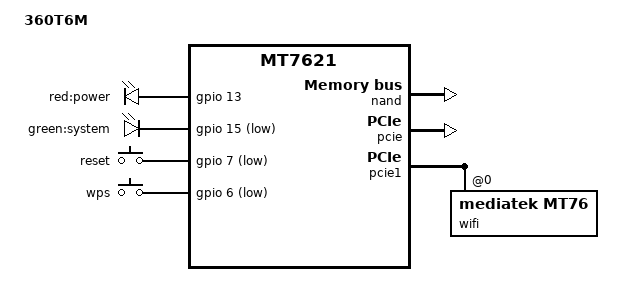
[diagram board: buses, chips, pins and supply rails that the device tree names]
/dts-v1/;

#include "mt7621.dtsi"
#include <dt-bindings/gpio/gpio.h>
#include <dt-bindings/input/input.h>

/ {
	compatible = "360,360t6m", "mediatek,mt7621-soc";
	model = "360T6M";

	aliases {
		led-boot = &led_system;
		led-failsafe = &led_system;
		led-upgrade = &led_system;
	};

	chosen {
		bootargs = "console=ttyS0,115200";
	};

	leds {
		compatible = "gpio-leds";

		led_power: power {
			label = "red:power";
			gpios = <&gpio 13 GPIO_ACTIVE_HIGH>;
		};

		led_system: system {
			label = "green:system";
			gpios = <&gpio 15 GPIO_ACTIVE_LOW>;
		};
	};

	keys {
		compatible = "gpio-keys";

		reset {
			label = "reset";
			gpios = <&gpio 7 GPIO_ACTIVE_LOW>;
			linux,code = <KEY_RESTART>;
		};

		wps {
			label = "wps";
			gpios = <&gpio 6 GPIO_ACTIVE_LOW>;
			linux,code = <KEY_WPS_BUTTON>;
		};
	};
};

&nand {
	status = "okay";

	partitions {
		compatible = "fixed-partitions";
		#address-cells = <1>;
		#size-cells = <1>;

		partition@0 {
			label = "Bootloader";
			reg = <0x0 0x80000>;
		};

		partition@80000 {
			label = "Nvram";
			reg = <0x80000 0x40000>;
			read-only;
		};

		partition@c0000 {
			label = "Bdata";
			reg = <0xc0000 0x40000>;
			read-only;
		};

		factory: partition@100000 {
			label = "Factory";
			reg = <0x100000 0x80000>;
			read-only;
			compatible = "nvmem-cells";
			#address-cells = <1>;
			#size-cells = <1>;

			macaddr_factory_e000: macaddr@e000 {
				reg = <0xe000 0x6>;
			};

			macaddr_factory_e006: macaddr@e006 {
				reg = <0xe006 0x6>;
			};
		};

		partition@180000 {
			label = "crash";
			reg = <0x180000 0x40000>;
			read-only;
		};

		partition@1c0000 {
			label = "crash_log";
			reg = <0x1c0000 0x40000>;
			read-only;
		};

		partition@200000 {
			label = "kernel";
			reg = <0x200000 0x400000>;
		};

		partition@600000 {
			label = "ubi";
			reg = <0x600000 0x7980000>;
		};
	};
};

/* منفذ الـCPU المتصل بمحرك الإيثرنت (gmac0 موروث من mt7621.dtsi) */
&gmac0 {
	nvmem-cells = <&macaddr_factory_e000>;
	nvmem-cell-names = "mac-address";
};

/* تفعيل وتسمية منافذ سويتش DSA الفعلية على اللوحة */
&switch0 {
	ports {
		port@0 {
			status = "okay";
			label = "lan3";
		};

		port@1 {
			status = "okay";
			label = "lan2";
		};

		port@2 {
			status = "okay";
			label = "lan1";
		};

		port@3 {
			status = "okay";
			label = "wan";
			nvmem-cells = <&macaddr_factory_e006>;
			nvmem-cell-names = "mac-address";
		};
	};
};

/* تفعيل جسر PCIe (معطل افتراضيًا بالملف المشترك) */
&pcie {
	status = "okay";
};

/* شريحة الوايفاي MT7915 على المنفذ 1 - طابق هذا مع الفحص الفعلي بالأسفل */
&pcie1 {
	wifi@0,0 {
		compatible = "mediatek,mt76";
		reg = <0x0000 0 0 0 0>;
		mediatek,mtd-eeprom = <&factory 0x0>;
	};
};
